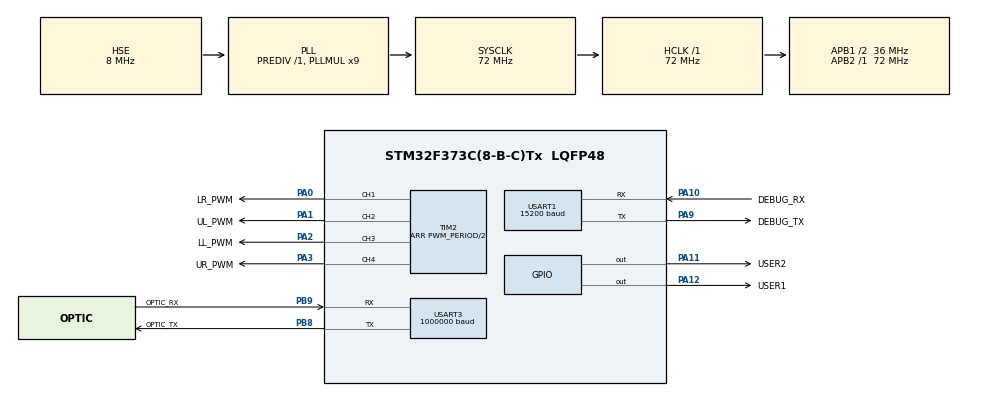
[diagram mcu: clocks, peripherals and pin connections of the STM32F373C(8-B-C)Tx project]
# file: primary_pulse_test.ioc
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Dma.Request0=USART3_RX
Dma.Request1=USART3_TX
Dma.Request2=USART1_RX
Dma.Request3=USART1_TX
Dma.USART1_RX.2.Direction=DMA_PERIPH_TO_MEMORY
Dma.USART1_RX.2.Instance=DMA1_Channel5
Dma.USART1_RX.2.MemDataAlignment=DMA_MDATAALIGN_BYTE
Dma.USART1_RX.2.MemInc=DMA_MINC_ENABLE
Dma.USART1_RX.2.Mode=DMA_CIRCULAR
Dma.USART1_RX.2.PeriphDataAlignment=DMA_PDATAALIGN_BYTE
Dma.USART1_RX.2.PeriphInc=DMA_PINC_DISABLE
Dma.USART1_RX.2.Priority=DMA_PRIORITY_LOW
Dma.USART1_TX.3.Direction=DMA_MEMORY_TO_PERIPH
Dma.USART1_TX.3.Instance=DMA1_Channel4
Dma.USART1_TX.3.MemDataAlignment=DMA_MDATAALIGN_BYTE
Dma.USART1_TX.3.MemInc=DMA_MINC_ENABLE
Dma.USART1_TX.3.Mode=DMA_NORMAL
Dma.USART1_TX.3.PeriphDataAlignment=DMA_PDATAALIGN_BYTE
Dma.USART1_TX.3.PeriphInc=DMA_PINC_DISABLE
Dma.USART1_TX.3.Priority=DMA_PRIORITY_LOW
Dma.USART3_RX.0.Direction=DMA_PERIPH_TO_MEMORY
Dma.USART3_RX.0.Instance=DMA1_Channel3
Dma.USART3_RX.0.MemDataAlignment=DMA_MDATAALIGN_BYTE
Dma.USART3_RX.0.MemInc=DMA_MINC_ENABLE
Dma.USART3_RX.0.Mode=DMA_CIRCULAR
Dma.USART3_RX.0.PeriphDataAlignment=DMA_PDATAALIGN_BYTE
Dma.USART3_RX.0.PeriphInc=DMA_PINC_DISABLE
Dma.USART3_RX.0.Priority=DMA_PRIORITY_VERY_HIGH
Dma.USART3_TX.1.Direction=DMA_MEMORY_TO_PERIPH
Dma.USART3_TX.1.Instance=DMA1_Channel2
Dma.USART3_TX.1.MemDataAlignment=DMA_MDATAALIGN_BYTE
Dma.USART3_TX.1.MemInc=DMA_MINC_ENABLE
Dma.USART3_TX.1.Mode=DMA_NORMAL
Dma.USART3_TX.1.PeriphDataAlignment=DMA_PDATAALIGN_BYTE
Dma.USART3_TX.1.PeriphInc=DMA_PINC_DISABLE
Dma.USART3_TX.1.Priority=DMA_PRIORITY_LOW
Mcu.Family=STM32F3
Mcu.Name=STM32F373C(8-B-C)Tx
Mcu.Package=LQFP48
Mcu.UserConstants=PWM_PERIOD,360
NVIC.DMA1_Channel2_IRQn=true\:0\:0\:true\:false\:true\:false
NVIC.DMA1_Channel3_IRQn=true\:0\:0\:true\:false\:true\:false
NVIC.DMA1_Channel4_IRQn=true\:0\:0\:true\:false\:true\:true
NVIC.DMA1_Channel5_IRQn=true\:0\:0\:true\:false\:true\:true
NVIC.PriorityGroup=NVIC_PRIORITYGROUP_4
NVIC.TIM6_DAC1_IRQn=true\:1\:0\:true\:false\:true\:true
NVIC.USART1_IRQn=true\:0\:0\:true\:false\:true\:true
NVIC.USART3_IRQn=true\:0\:0\:true\:false\:true\:true
PA0.GPIO_Label=LR_PWM
PA0.Signal=S_TIM2_CH1_ETR
PA1.GPIO_Label=UL_PWM
PA1.Signal=S_TIM2_CH2
PA10.GPIO_Label=DEBUG_RX
PA10.Mode=Asynchronous
PA10.Signal=USART1_RX
PA11.GPIO_Label=USER2
PA11.Signal=GPIO_Output
PA12.GPIO_Label=USER1
PA12.Signal=GPIO_Output
PA13.Mode=Serial_Wire
PA13.Signal=SYS_JTMS-SWDIO
PA14.Mode=Serial_Wire
PA14.Signal=SYS_JTCK-SWCLK
PA2.GPIO_Label=LL_PWM
PA2.Signal=S_TIM2_CH3
PA3.GPIO_Label=UR_PWM
PA3.Signal=S_TIM2_CH4
PA9.GPIO_Label=DEBUG_TX
PA9.Mode=Asynchronous
PA9.Signal=USART1_TX
PB8.GPIO_FM8=SYSCFG_CFGR1_I2C_PB8_FMP
PB8.GPIO_Label=OPTIC_TX
PB8.GPIO_PuPd=GPIO_PULLUP
PB8.Mode=Asynchronous
PB8.Signal=USART3_TX
PB9.GPIO_FM9=SYSCFG_CFGR1_I2C_PB9_FMP
PB9.GPIO_Label=OPTIC_RX
PB9.GPIO_PuPd=GPIO_PULLUP
PB9.Mode=Asynchronous
PB9.Signal=USART3_RX
PF0-OSC_IN.Mode=HSE-External-Oscillator
PF0-OSC_IN.Signal=RCC_OSC_IN
PF1-OSC_OUT.Mode=HSE-External-Oscillator
PF1-OSC_OUT.Signal=RCC_OSC_OUT
ProjectManager.HeapSize=0x200
ProjectManager.StackSize=0x400
ProjectManager.TargetToolchain=EWARM
RCC.AHBFreq_Value=72000000
RCC.APB1CLKDivider=RCC_HCLK_DIV2
RCC.APB1Freq_Value=36000000
RCC.APB1TimFreq_Value=72000000
RCC.APB2Freq_Value=72000000
RCC.APB2TimFreq_Value=72000000
RCC.CortexFreq_Value=72000000
RCC.HCLKFreq_Value=72000000
RCC.HSE_VALUE=8000000
RCC.HSI_VALUE=8000000
RCC.LSE_VALUE=32768
RCC.PLLMUL=RCC_PLL_MUL9
RCC.PLLSourceVirtual=RCC_PLLSOURCE_HSE
RCC.SYSCLKFreq_VALUE=72000000
RCC.SYSCLKSource=RCC_SYSCLKSOURCE_PLLCLK
RCC.USBFreq_Value=72000000
SH.S_TIM2_CH1_ETR.0=TIM2_CH1,PWM Generation1 CH1
SH.S_TIM2_CH2.0=TIM2_CH2,PWM Generation2 CH2
SH.S_TIM2_CH3.0=TIM2_CH3,PWM Generation3 CH3
SH.S_TIM2_CH4.0=TIM2_CH4,PWM Generation4 CH4
TIM2.AutoReloadPreload=TIM_AUTORELOAD_PRELOAD_ENABLE
TIM2.Channel-PWM\ Generation1\ CH1=TIM_CHANNEL_1
TIM2.Channel-PWM\ Generation2\ CH2=TIM_CHANNEL_2
TIM2.Channel-PWM\ Generation3\ CH3=TIM_CHANNEL_3
TIM2.Channel-PWM\ Generation4\ CH4=TIM_CHANNEL_4
TIM2.CounterMode=TIM_COUNTERMODE_CENTERALIGNED1
TIM2.OCMode_PWM-PWM\ Generation4\ CH4=TIM_OCMODE_PWM1
TIM2.OCPolarity_1=TIM_OCPOLARITY_LOW
TIM2.OCPolarity_2=TIM_OCPOLARITY_LOW
TIM2.OCPolarity_3=TIM_OCPOLARITY_HIGH
TIM2.OCPolarity_4=TIM_OCPOLARITY_HIGH
TIM2.Period=PWM_PERIOD/2
TIM6.Prescaler=7200
USART1.BaudRate=15200
USART1.VirtualMode-Asynchronous=VM_ASYNC
USART3.BaudRate=1000000
USART3.VirtualMode-Asynchronous=VM_ASYNC
VP_TIM2_VS_ClockSourceINT.Mode=Internal
VP_TIM6_VS_ClockSourceINT.Mode=Enable_Timer
board=primary_pulse_test

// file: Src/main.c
/**
  ******************************************************************************
  * @file           : main.c
  * @brief          : Main program body
  ******************************************************************************
  ** This notice applies to any and all portions of this file
  * that are not between comment pairs USER CODE BEGIN and
  * USER CODE END. Other portions of this file, whether
  * inserted by the user or by software development tools
  * are owned by their respective copyright owners.
  *
  * COPYRIGHT(c) 2019 STMicroelectronics
  *
  * Redistribution and use in source and binary forms, with or without modification,
  * are permitted provided that the following conditions are met:
  *   1. Redistributions of source code must retain the above copyright notice,
  *      this list of conditions and the following disclaimer.
  *   2. Redistributions in binary form must reproduce the above copyright notice,
  *      this list of conditions and the following disclaimer in the documentation
  *      and/or other materials provided with the distribution.
  *   3. Neither the name of STMicroelectronics nor the names of its contributors
  *      may be used to endorse or promote products derived from this software
  *      without specific prior written permission.
  *
  * THIS SOFTWARE IS PROVIDED BY THE COPYRIGHT HOLDERS AND CONTRIBUTORS "AS IS"
  * AND ANY EXPRESS OR IMPLIED WARRANTIES, INCLUDING, BUT NOT LIMITED TO, THE
  * IMPLIED WARRANTIES OF MERCHANTABILITY AND FITNESS FOR A PARTICULAR PURPOSE ARE
  * DISCLAIMED. IN NO EVENT SHALL THE COPYRIGHT HOLDER OR CONTRIBUTORS BE LIABLE
  * FOR ANY DIRECT, INDIRECT, INCIDENTAL, SPECIAL, EXEMPLARY, OR CONSEQUENTIAL
  * DAMAGES (INCLUDING, BUT NOT LIMITED TO, PROCUREMENT OF SUBSTITUTE GOODS OR
  * SERVICES; LOSS OF USE, DATA, OR PROFITS; OR BUSINESS INTERRUPTION) HOWEVER
  * CAUSED AND ON ANY THEORY OF LIABILITY, WHETHER IN CONTRACT, STRICT LIABILITY,
  * OR TORT (INCLUDING NEGLIGENCE OR OTHERWISE) ARISING IN ANY WAY OUT OF THE USE
  * OF THIS SOFTWARE, EVEN IF ADVISED OF THE POSSIBILITY OF SUCH DAMAGE.
  *
  ******************************************************************************
  */
#include "main.h"
#include "stm32f3xx_hal.h"

/* USER CODE BEGIN Includes */
#include <string.h>
#include <stdbool.h>
#include <stdlib.h>
/* USER CODE END Includes */

TIM_HandleTypeDef htim2;
TIM_HandleTypeDef htim6;

UART_HandleTypeDef huart1;
UART_HandleTypeDef huart3;
DMA_HandleTypeDef hdma_usart1_rx;
DMA_HandleTypeDef hdma_usart1_tx;
DMA_HandleTypeDef hdma_usart3_rx;
DMA_HandleTypeDef hdma_usart3_tx;

/* USER CODE BEGIN PV */
/* Private variables ---------------------------------------------------------*/

void stop_pwm();

// Optic UART RX Buffer
__IO char optic_rx_buffer[OPTIC_RX_BUF_SIZE];
__IO char *optic_start_ptr;
__IO char *optic_end_ptr;
__IO char *optic_curr_rx_ptr;

// USB Uart TX Buffer

__IO char debug_tx_buffer[DEBUG_TX_BUF_SIZE];
__IO char debug_rx_buffer[DEBUG_RX_BUF_SIZE];
__IO uint16_t debug_tx_to_send = 0;
__IO char *debug_tx_buf_start;
__IO char msg_buffer[DEBUG_MAX_MSG_SIZE];

// Pulse settings
__IO float duty = .5;

__IO uint16_t pulse_length = 1;

int init = 0 ;
int td = 15;  // dead time for switch transitions
int tcomm = 10;  // commutation period for leakage inductance
int period = PWM_PERIOD;
int new_pwm = 0;
uint32_t duty_ul;
uint32_t duty_ll;
uint32_t duty_ur;
uint32_t duty_lr;

/* USER CODE END PV */

void SystemClock_Config(void);
static void MX_GPIO_Init(void);
static void MX_DMA_Init(void);
static void MX_TIM2_Init(void);
static void MX_USART1_UART_Init(void);
static void MX_TIM6_Init(void);
static void MX_USART3_UART_Init(void);
void HAL_TIM_MspPostInit(TIM_HandleTypeDef *htim);

/* USER CODE BEGIN PFP */
/* Private function prototypes -----------------------------------------------*/

/* USER CODE END PFP */

/* USER CODE BEGIN 0 */
// set USER1 LED
void set_user1_led(bool state) {
  if (state)
    HAL_GPIO_WritePin(USER1_GPIO_Port, USER1_Pin, GPIO_PIN_SET);
  else
    HAL_GPIO_WritePin(USER1_GPIO_Port, USER1_Pin, GPIO_PIN_RESET);
}

// set USER2 LED
void set_user2_led(bool state) {
  if (state)
    HAL_GPIO_WritePin(USER2_GPIO_Port, USER2_Pin, GPIO_PIN_SET);
  else
    HAL_GPIO_WritePin(USER2_GPIO_Port, USER2_Pin, GPIO_PIN_RESET);
}

/* --------------- Serial Interface -----------------------*/
void print_debug(char *msg) {
  // check if TX is free
  uint8_t state = HAL_UART_GetState(&huart1);
  if (state == HAL_UART_STATE_BUSY_TX || state == HAL_UART_STATE_BUSY_TX_RX) {
    // append to TX buffer
    strncat((char *)debug_tx_buffer, msg, DEBUG_TX_BUF_SIZE - strlen((char *)debug_tx_buffer));
    // update to_send length
    debug_tx_to_send = debug_tx_to_send + strlen(msg);
  } else {
    strncpy((char *)debug_tx_buffer, msg, DEBUG_TX_BUF_SIZE);
    debug_tx_to_send = 0;
    uint16_t ntransfer = strlen((char *)debug_tx_buffer);

    // start TX event
    // set to_send to 0 and update start pointer
    debug_tx_buf_start = debug_tx_buffer + ntransfer;
    HAL_UART_Transmit_DMA(&huart1, (uint8_t *)debug_tx_buffer, ntransfer);

  }
}

// method to check if there is available text
bool serial_available() {
  if (optic_end_ptr != optic_start_ptr)
    return 1;

  return 0;
}

// method to check if there is a command lined up
bool cmd_available() {
  // search from start of the end buffer and look for \r or \n to signal the end
  // of a message. returns 1 if there is a message. 0 otherwise
  for (char *ptr = (char *)optic_rx_buffer; ptr < optic_rx_buffer + OPTIC_RX_BUF_SIZE; ptr++) {
    if (*ptr == '\r' || *ptr == '\n') {
      return 1;
    }
  }

  // no command found
  return 0;
}

// method to read the most recent command. you must check if there is an available
// command before calling the method. if there is no command the behavior is undefined.
int get_cmd(char *parsed_msg) {
  for(int k=0; k < OPTIC_RX_BUF_SIZE; k++) {
    char *ptr = (char *)optic_start_ptr + k;
    // check if wrapped around circular buffer
    if (k + optic_start_ptr >= optic_rx_buffer + OPTIC_RX_BUF_SIZE) {
      ptr = k - OPTIC_RX_BUF_SIZE + (char *)optic_start_ptr;
    }

    char temp = *ptr;

    // check if \r or \n signaling end of msg
    if (temp == '\r' || temp == '\n') {
      // set new start pointer
      if (temp == '\r') {
        // check if \r\n sent as terminating string
        char *next_ptr = ptr + 1;
        // wrap if necessary
        if (next_ptr >= optic_rx_buffer + OPTIC_RX_BUF_SIZE) {
          next_ptr = (char *)optic_rx_buffer;
        }

        // check if next_ptr is \n
        if (*next_ptr == '\n') {
          // increment optic_start_ptr to follow next_ptr
          optic_start_ptr = next_ptr + 1;
          // replace \n with \0
          *next_ptr = '\0';
        } else {
          optic_start_ptr = ptr + 1;
        }
      } else {
        optic_start_ptr = ptr + 1;
      }

      // replace ptr with \0
      *ptr = '\0';

      // make sure start pointer doesn't overflow
      if (optic_start_ptr >= optic_rx_buffer + OPTIC_RX_BUF_SIZE)
        optic_start_ptr = optic_rx_buffer;

      // terminate parsed command string with \0
      parsed_msg[k] = '\0';

      // return length of parsed message
      return k;
    } else {
      // save character
      parsed_msg[k] = temp;
      // replace old character with \0
      *ptr = '\0';
    }
  }

  return 0;
}

// method to echo recieved data back. this method reads through the rx buffer and
// prints any unprinted characters until it hits a \0. make sure to call this
// before parsing the command or it may miss text
void echo_text() {
  // make sure there is text to print
  if (*optic_curr_rx_ptr == '\0')
    return;

  int len = strlen((const char *)optic_curr_rx_ptr);
  print_debug((char *)optic_curr_rx_ptr);
  optic_curr_rx_ptr += len;
}

// handle end of TX transaction and see if there is still remaining data to be sent
void HAL_UART_TxCpltCallback(UART_HandleTypeDef *huart) {
  // check if Debug UART
  if (huart == &huart1) {
    // check if tx buffer is not empty
    if (debug_tx_to_send > 0) {
      // truncate string if necessary
      if (debug_tx_buf_start + debug_tx_to_send > debug_tx_buffer + DEBUG_TX_BUF_SIZE) {
        // set to_send to 0 and update start pointer
        debug_tx_buf_start = debug_tx_buffer + strlen((char *)debug_tx_buffer);
        uint16_t ntransfer = (uint16_t)(DEBUG_TX_BUF_SIZE - (debug_tx_buf_start-debug_tx_buffer));
        debug_tx_to_send = 0;
        HAL_UART_Transmit_DMA(huart, (uint8_t *)debug_tx_buf_start, ntransfer);
      } else {
        debug_tx_buf_start = debug_tx_buffer + strlen((char *)debug_tx_buffer) - debug_tx_to_send;
        uint16_t ntransfer = debug_tx_to_send;
        debug_tx_to_send = 0;
        HAL_UART_Transmit_DMA(huart, (uint8_t *)debug_tx_buf_start, ntransfer);
      }
    } else {
      // reset buffer start
      debug_tx_buf_start = debug_tx_buffer;
    }
  }
}

void HAL_UART_ErrorCallback(UART_HandleTypeDef *huart)
{

  if (huart==&huart3)
  {
//  char err_msg [20];
////  sprintf(err_msg,"uart error %d\r\n",huart->ErrorCode);
////  print_debug(err_msg);
  // reset hal dma
  HAL_UART_Receive_DMA(&huart3, (uint8_t *)optic_rx_buffer, OPTIC_RX_BUF_SIZE);

  //if (init==1)
    //stop_pwm();

  }
}

// handle end of recieve transaction and echo result
void HAL_UART_RxCpltCallback(UART_HandleTypeDef *huart)
{
  __HAL_UART_SEND_REQ(huart, UART_RXDATA_FLUSH_REQUEST); // Clear the buffer to prevent overrun
  // save received data in buffer
  //store_text((char *)optic_rx_buffer);
  // echo response
  /*
  char echo_char = *optic_curr_rx_ptr;
  print_debug(&echo_char);
  optic_curr_rx_ptr++;
  // wrap optic_curr_rx_ptr if necessary
  if (optic_curr_rx_ptr >= optic_rx_buffer + OPTIC_RX_BUF_SIZE)
    optic_curr_rx_ptr = optic_rx_buffer;
  */
}

/* ------------------------ Serial Interface End ------------------*/

void start_pwm() {
  /* Start channel 1 */
  if (HAL_TIM_PWM_Start(&htim2, TIM_CHANNEL_1) != HAL_OK)
  {
    /* PWM Generation Error */
    Error_Handler();
  }
  /* Start channel 2 */
  if (HAL_TIM_PWM_Start(&htim2, TIM_CHANNEL_2) != HAL_OK)
  {
    /* PWM Generation Error */
    Error_Handler();
  }
  /* Start channel 3 */
  if (HAL_TIM_PWM_Start(&htim2, TIM_CHANNEL_3) != HAL_OK)
  {
    /* PWM generation Error */
    Error_Handler();
  }
  /* Start channel 4 */
  if (HAL_TIM_PWM_Start(&htim2, TIM_CHANNEL_4) != HAL_OK)
  {
    /* PWM generation Error */
    Error_Handler();
  }
  //HAL_TIM_Base_Start_IT(&htim2);
}

void stop_pwm() {
  /* Stop channel 1 */
  if (HAL_TIM_PWM_Stop(&htim2, TIM_CHANNEL_1) != HAL_OK)
  {
    /* PWM Generation Error */
    Error_Handler();
  }
  /* Stop channel 2 */
  if (HAL_TIM_PWM_Stop(&htim2, TIM_CHANNEL_2) != HAL_OK)
  {
    /* PWM Generation Error */
    Error_Handler();
  }
  /* Stop channel 3 */
  if (HAL_TIM_PWM_Stop(&htim2, TIM_CHANNEL_3) != HAL_OK)
  {
    /* PWM generation Error */
    Error_Handler();
  }
  /* Stop channel 4 */
  if (HAL_TIM_PWM_Stop(&htim2, TIM_CHANNEL_4) != HAL_OK)
  {
    /* PWM generation Error */
    Error_Handler();
  }
}

void init_pwm(float pwm) {
  // Configure and start PWM
  int ttot = period - 4 * td;
  int ton = (uint32_t)(ttot / 2.0 * pwm + tcomm);
  int toff = (uint32_t)((ttot - 2*ton)/2.0);

  duty_ul = (uint32_t)(ton/2.0) + td;
  duty_ll = (uint32_t)(ton/2.0);
  duty_ur = (uint32_t)(ton/2.0 + toff) + td;
  duty_lr = (uint32_t)(ton/2.0 + toff) + 2*td;

  // Timer setup
  TIM_OC_InitTypeDef sConfigOC;

  htim2.Instance = TIM2;
  htim2.Init.Prescaler = 0;
  htim2.Init.CounterMode = TIM_COUNTERMODE_CENTERALIGNED1;
  htim2.Init.Period = period/2;
  htim2.Init.ClockDivision = TIM_CLOCKDIVISION_DIV1;
  htim2.Init.AutoReloadPreload = TIM_AUTORELOAD_PRELOAD_DISABLE;

  // configure channel 1 (LR)
  sConfigOC.OCMode = TIM_OCMODE_PWM1;
  sConfigOC.Pulse = duty_lr;
  sConfigOC.OCPolarity = TIM_OCPOLARITY_LOW;
  sConfigOC.OCFastMode = TIM_OCFAST_DISABLE;
  if (HAL_TIM_PWM_ConfigChannel(&htim2, &sConfigOC, TIM_CHANNEL_1) != HAL_OK)
  {
    Error_Handler();
  }

  // configure channel 2 (UL)
  sConfigOC.Pulse = duty_ul;
  if (HAL_TIM_PWM_ConfigChannel(&htim2, &sConfigOC, TIM_CHANNEL_2) != HAL_OK)
  {
    Error_Handler();
  }

  // configure channel 3 (LL)
  sConfigOC.OCPolarity = TIM_OCPOLARITY_HIGH;
  sConfigOC.Pulse = duty_ll;
  if (HAL_TIM_PWM_ConfigChannel(&htim2, &sConfigOC, TIM_CHANNEL_3) != HAL_OK)
  {
    Error_Handler();
  }

  // configure channel 4 (UR)
  sConfigOC.Pulse = duty_ur;
  if (HAL_TIM_PWM_ConfigChannel(&htim2, &sConfigOC, TIM_CHANNEL_4) != HAL_OK)
  {
    Error_Handler();
  }

}

void set_pwm(float pwm) {

  if (pwm >= 1)
    pwm = 0.95;
  else if (pwm<=0.0)
    pwm = 0.0;

  duty = pwm;
  int ton = 0;
  // Configure and start PWM
  int ttot = period - 4 * td;
  if (pwm > 0.0)
    ton = (uint32_t)(ttot / 2.0 * duty + tcomm);

  int toff = (uint32_t)((ttot - 2*ton)/2.0);

  // wait for last pwm value to be updated
//  while(new_pwm);

  duty_ul = (uint32_t)(ton/2.0) + td;
  duty_ll = (uint32_t)(ton/2.0);
  duty_ur = (uint32_t)(ton/2.0 + toff) + td;
  duty_lr = (uint32_t)(ton/2.0 + toff) + 2*td;

  htim2.Instance->CCR1 = duty_lr;
  htim2.Instance->CCR2 = duty_ul;
  htim2.Instance->CCR3 = duty_ll;
  htim2.Instance->CCR4 = duty_ur;
  // signal new pwm values are present
  new_pwm = 1;
}

// Interrupt handler to change pwm values on timer reset and handle ending pulse
void HAL_TIM_PeriodElapsedCallback(TIM_HandleTypeDef *htim) {

  // change PWM values
  if (htim->Instance == htim2.Instance) {
    if (new_pwm) {
      htim->Instance->CCR1 = duty_lr;
      htim->Instance->CCR2 = duty_ul;
      htim->Instance->CCR3 = duty_ll;
      htim->Instance->CCR4 = duty_ur;
      // clear flag
      new_pwm = 0;
    }
  }
}

// need to write enable for outputs based on another pulse length timer

/* USER CODE END 0 */

int main(void)
{
  /* USER CODE BEGIN 1 */
  // initialize pointers
  optic_start_ptr = optic_rx_buffer;
  optic_end_ptr = optic_rx_buffer;
  optic_curr_rx_ptr = optic_start_ptr;
  /* USER CODE END 1 */

  /* MCU Configuration----------------------------------------------------------*/

  /* Reset of all peripherals, Initializes the Flash interface and the Systick. */
  HAL_Init();

  /* Configure the system clock */
  SystemClock_Config();

  /* USER CODE BEGIN SysInit */
  DWT->CTRL |= DWT_CTRL_CYCCNTENA_Msk; // [user] enable DWT for timing

  /* USER CODE END SysInit */

  /* Initialize all configured peripherals */
  MX_GPIO_Init();
  MX_DMA_Init();
  MX_TIM2_Init();
  MX_USART1_UART_Init();
  MX_TIM6_Init();
  MX_USART3_UART_Init();
  /* USER CODE BEGIN 2 */
  // Set LEDs off
  set_user1_led(false);
  set_user2_led(false);

  // initialize pwm to 50% duty cycle (doesn't start pwm)
  init_pwm(0.5);
  start_pwm();

  // Print boot message
  print_debug("Primary Board v1.0\n\r");
   // Start Optical Receiver
  HAL_UART_Receive_DMA(&huart3, (uint8_t *)optic_rx_buffer, OPTIC_RX_BUF_SIZE);
  HAL_UART_Receive_DMA(&huart1, (uint8_t *)debug_rx_buffer, DEBUG_RX_BUF_SIZE);

  /* USER CODE END 2 */

  /* Infinite loop */
  /* USER CODE BEGIN WHILE */
  int cmd_cnt = 0;

  while (1)
  {
    // check if there is a new command waiting. if so parse it
   // echo_text();

    if (cmd_available()) {

      int len = get_cmd((char *)msg_buffer);

      // check command
      if (len != 0) { // if just a blank entering command -> start pulse
        init = 1;
        int  duty_int = atoi((char *)msg_buffer);
        duty = 1.0*duty_int/1000.0;

//        char duty_debug_msg [20];
//        if (((cmd_cnt++)%100000) == 0)
//        {
//           sprintf(duty_debug_msg,"Set duty %5.3f\r\n",duty);
//           print_debug(duty_debug_msg);
//        }

        //set_pwm(duty);
      }

      // start pulse
      // start pwm
      // start_pwm();
      // HAL_Delay(pulse_length);
      // print_debug("Shit got turned on/off\r\n");
      // stop_pwm();
    }

//    print_debug("Test UART\r\n");
   // HAL_Delay(5);
  /* USER CODE END WHILE */

  }

}

void SystemClock_Config(void)
{

  RCC_OscInitTypeDef RCC_OscInitStruct;
  RCC_ClkInitTypeDef RCC_ClkInitStruct;
  RCC_PeriphCLKInitTypeDef PeriphClkInit;

    /**Initializes the CPU, AHB and APB busses clocks
    */
  RCC_OscInitStruct.OscillatorType = RCC_OSCILLATORTYPE_HSE;
  RCC_OscInitStruct.HSEState = RCC_HSE_ON;
  RCC_OscInitStruct.HSEPredivValue = RCC_HSE_PREDIV_DIV1;
  RCC_OscInitStruct.HSIState = RCC_HSI_ON;
  RCC_OscInitStruct.PLL.PLLState = RCC_PLL_ON;
  RCC_OscInitStruct.PLL.PLLSource = RCC_PLLSOURCE_HSE;
  RCC_OscInitStruct.PLL.PLLMUL = RCC_PLL_MUL9;
  if (HAL_RCC_OscConfig(&RCC_OscInitStruct) != HAL_OK)
  {
    _Error_Handler(__FILE__, __LINE__);
  }

    /**Initializes the CPU, AHB and APB busses clocks
    */
  RCC_ClkInitStruct.ClockType = RCC_CLOCKTYPE_HCLK|RCC_CLOCKTYPE_SYSCLK
                              |RCC_CLOCKTYPE_PCLK1|RCC_CLOCKTYPE_PCLK2;
  RCC_ClkInitStruct.SYSCLKSource = RCC_SYSCLKSOURCE_PLLCLK;
  RCC_ClkInitStruct.AHBCLKDivider = RCC_SYSCLK_DIV1;
  RCC_ClkInitStruct.APB1CLKDivider = RCC_HCLK_DIV2;
  RCC_ClkInitStruct.APB2CLKDivider = RCC_HCLK_DIV1;

  if (HAL_RCC_ClockConfig(&RCC_ClkInitStruct, FLASH_LATENCY_2) != HAL_OK)
  {
    _Error_Handler(__FILE__, __LINE__);
  }

  PeriphClkInit.PeriphClockSelection = RCC_PERIPHCLK_USART1|RCC_PERIPHCLK_USART3;
  PeriphClkInit.Usart1ClockSelection = RCC_USART1CLKSOURCE_PCLK2;
  PeriphClkInit.Usart3ClockSelection = RCC_USART3CLKSOURCE_PCLK1;
  if (HAL_RCCEx_PeriphCLKConfig(&PeriphClkInit) != HAL_OK)
  {
    _Error_Handler(__FILE__, __LINE__);
  }

    /**Configure the Systick interrupt time
    */
  HAL_SYSTICK_Config(HAL_RCC_GetHCLKFreq()/1000);

    /**Configure the Systick
    */
  HAL_SYSTICK_CLKSourceConfig(SYSTICK_CLKSOURCE_HCLK);

  /* SysTick_IRQn interrupt configuration */
  HAL_NVIC_SetPriority(SysTick_IRQn, 0, 0);
}

/* TIM2 init function */
static void MX_TIM2_Init(void)
{

  TIM_ClockConfigTypeDef sClockSourceConfig;
  TIM_MasterConfigTypeDef sMasterConfig;
  TIM_OC_InitTypeDef sConfigOC;

  htim2.Instance = TIM2;
  htim2.Init.Prescaler = 0;
  htim2.Init.CounterMode = TIM_COUNTERMODE_CENTERALIGNED1;
  htim2.Init.Period = PWM_PERIOD/2;
  htim2.Init.ClockDivision = TIM_CLOCKDIVISION_DIV1;
  htim2.Init.AutoReloadPreload = TIM_AUTORELOAD_PRELOAD_ENABLE;
  if (HAL_TIM_Base_Init(&htim2) != HAL_OK)
  {
    _Error_Handler(__FILE__, __LINE__);
  }

  sClockSourceConfig.ClockSource = TIM_CLOCKSOURCE_INTERNAL;
  if (HAL_TIM_ConfigClockSource(&htim2, &sClockSourceConfig) != HAL_OK)
  {
    _Error_Handler(__FILE__, __LINE__);
  }

  if (HAL_TIM_PWM_Init(&htim2) != HAL_OK)
  {
    _Error_Handler(__FILE__, __LINE__);
  }

  sMasterConfig.MasterOutputTrigger = TIM_TRGO_RESET;
  sMasterConfig.MasterSlaveMode = TIM_MASTERSLAVEMODE_DISABLE;
  if (HAL_TIMEx_MasterConfigSynchronization(&htim2, &sMasterConfig) != HAL_OK)
  {
    _Error_Handler(__FILE__, __LINE__);
  }

  sConfigOC.OCMode = TIM_OCMODE_PWM1;
  sConfigOC.Pulse = 0;
  sConfigOC.OCPolarity = TIM_OCPOLARITY_LOW;
  sConfigOC.OCFastMode = TIM_OCFAST_DISABLE;
  if (HAL_TIM_PWM_ConfigChannel(&htim2, &sConfigOC, TIM_CHANNEL_1) != HAL_OK)
  {
    _Error_Handler(__FILE__, __LINE__);
  }

  if (HAL_TIM_PWM_ConfigChannel(&htim2, &sConfigOC, TIM_CHANNEL_2) != HAL_OK)
  {
    _Error_Handler(__FILE__, __LINE__);
  }

  sConfigOC.OCPolarity = TIM_OCPOLARITY_HIGH;
  if (HAL_TIM_PWM_ConfigChannel(&htim2, &sConfigOC, TIM_CHANNEL_3) != HAL_OK)
  {
    _Error_Handler(__FILE__, __LINE__);
  }

  if (HAL_TIM_PWM_ConfigChannel(&htim2, &sConfigOC, TIM_CHANNEL_4) != HAL_OK)
  {
    _Error_Handler(__FILE__, __LINE__);
  }

  HAL_TIM_MspPostInit(&htim2);

}

/* TIM6 init function */
static void MX_TIM6_Init(void)
{

  TIM_MasterConfigTypeDef sMasterConfig;

  htim6.Instance = TIM6;
  htim6.Init.Prescaler = 7200;
  htim6.Init.CounterMode = TIM_COUNTERMODE_UP;
  htim6.Init.Period = 0;
  htim6.Init.AutoReloadPreload = TIM_AUTORELOAD_PRELOAD_DISABLE;
  if (HAL_TIM_Base_Init(&htim6) != HAL_OK)
  {
    _Error_Handler(__FILE__, __LINE__);
  }

  sMasterConfig.MasterOutputTrigger = TIM_TRGO_RESET;
  sMasterConfig.MasterSlaveMode = TIM_MASTERSLAVEMODE_DISABLE;
  if (HAL_TIMEx_MasterConfigSynchronization(&htim6, &sMasterConfig) != HAL_OK)
  {
    _Error_Handler(__FILE__, __LINE__);
  }

}

/* USART1 init function */
static void MX_USART1_UART_Init(void)
{

  huart1.Instance = USART1;
  huart1.Init.BaudRate = 15200;
  huart1.Init.WordLength = UART_WORDLENGTH_8B;
  huart1.Init.StopBits = UART_STOPBITS_1;
  huart1.Init.Parity = UART_PARITY_NONE;
  huart1.Init.Mode = UART_MODE_TX_RX;
  huart1.Init.HwFlowCtl = UART_HWCONTROL_NONE;
  huart1.Init.OverSampling = UART_OVERSAMPLING_16;
  huart1.Init.OneBitSampling = UART_ONE_BIT_SAMPLE_DISABLE;
  huart1.AdvancedInit.AdvFeatureInit = UART_ADVFEATURE_NO_INIT;
  if (HAL_UART_Init(&huart1) != HAL_OK)
  {
    _Error_Handler(__FILE__, __LINE__);
  }

}

/* USART3 init function */
static void MX_USART3_UART_Init(void)
{

  huart3.Instance = USART3;
  huart3.Init.BaudRate = 1000000;
  huart3.Init.WordLength = UART_WORDLENGTH_8B;
  huart3.Init.StopBits = UART_STOPBITS_1;
  huart3.Init.Parity = UART_PARITY_NONE;
  huart3.Init.Mode = UART_MODE_TX_RX;
  huart3.Init.HwFlowCtl = UART_HWCONTROL_NONE;
  huart3.Init.OverSampling = UART_OVERSAMPLING_16;
  huart3.Init.OneBitSampling = UART_ONE_BIT_SAMPLE_DISABLE;
  huart3.AdvancedInit.AdvFeatureInit = UART_ADVFEATURE_NO_INIT;
  if (HAL_UART_Init(&huart3) != HAL_OK)
  {
    _Error_Handler(__FILE__, __LINE__);
  }

}

static void MX_DMA_Init(void)
{
  /* DMA controller clock enable */
  __HAL_RCC_DMA1_CLK_ENABLE();

  /* DMA interrupt init */
  /* DMA1_Channel2_IRQn interrupt configuration */
  HAL_NVIC_SetPriority(DMA1_Channel2_IRQn, 0, 0);
  HAL_NVIC_EnableIRQ(DMA1_Channel2_IRQn);
  /* DMA1_Channel3_IRQn interrupt configuration */
  HAL_NVIC_SetPriority(DMA1_Channel3_IRQn, 0, 0);
  HAL_NVIC_EnableIRQ(DMA1_Channel3_IRQn);
  /* DMA1_Channel4_IRQn interrupt configuration */
  HAL_NVIC_SetPriority(DMA1_Channel4_IRQn, 0, 0);
  HAL_NVIC_EnableIRQ(DMA1_Channel4_IRQn);
  /* DMA1_Channel5_IRQn interrupt configuration */
  HAL_NVIC_SetPriority(DMA1_Channel5_IRQn, 0, 0);
  HAL_NVIC_EnableIRQ(DMA1_Channel5_IRQn);

}

/** Configure pins as
        * Analog
        * Input
        * Output
        * EVENT_OUT
        * EXTI
*/
static void MX_GPIO_Init(void)
{

  GPIO_InitTypeDef GPIO_InitStruct;

  /* GPIO Ports Clock Enable */
  __HAL_RCC_GPIOF_CLK_ENABLE();
  __HAL_RCC_GPIOA_CLK_ENABLE();
  __HAL_RCC_GPIOB_CLK_ENABLE();

  /*Configure GPIO pin Output Level */
  HAL_GPIO_WritePin(GPIOA, USER2_Pin|USER1_Pin, GPIO_PIN_RESET);

  /*Configure GPIO pins : USER2_Pin USER1_Pin */
  GPIO_InitStruct.Pin = USER2_Pin|USER1_Pin;
  GPIO_InitStruct.Mode = GPIO_MODE_OUTPUT_PP;
  GPIO_InitStruct.Pull = GPIO_NOPULL;
  GPIO_InitStruct.Speed = GPIO_SPEED_FREQ_LOW;
  HAL_GPIO_Init(GPIOA, &GPIO_InitStruct);

}

void _Error_Handler(char *file, int line)
{
  while(1)
  {
  }
}

/************************ (C) COPYRIGHT STMicroelectronics *****END OF FILE****/
